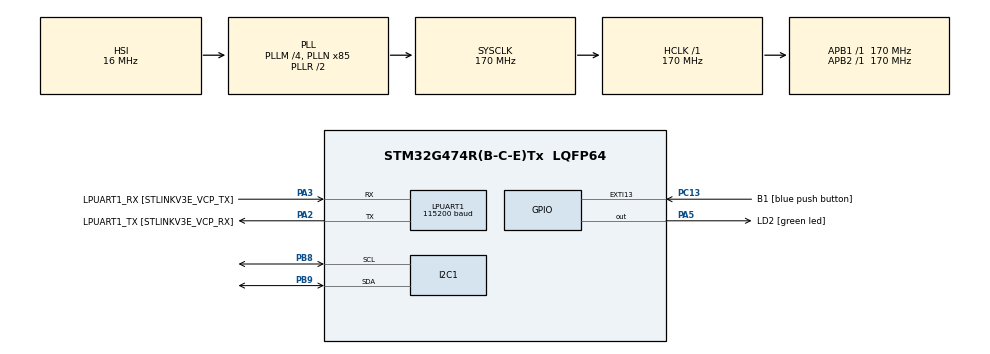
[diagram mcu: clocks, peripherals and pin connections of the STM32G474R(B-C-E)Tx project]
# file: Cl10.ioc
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Dma.I2C1_RX.0.Direction=DMA_PERIPH_TO_MEMORY
Dma.I2C1_RX.0.EventEnable=DISABLE
Dma.I2C1_RX.0.Instance=DMA1_Channel1
Dma.I2C1_RX.0.MemDataAlignment=DMA_MDATAALIGN_BYTE
Dma.I2C1_RX.0.MemInc=DMA_MINC_ENABLE
Dma.I2C1_RX.0.Mode=DMA_NORMAL
Dma.I2C1_RX.0.PeriphDataAlignment=DMA_PDATAALIGN_BYTE
Dma.I2C1_RX.0.PeriphInc=DMA_PINC_DISABLE
Dma.I2C1_RX.0.Polarity=HAL_DMAMUX_REQ_GEN_RISING
Dma.I2C1_RX.0.Priority=DMA_PRIORITY_LOW
Dma.I2C1_RX.0.RequestNumber=1
Dma.I2C1_RX.0.SignalID=NONE
Dma.I2C1_RX.0.SyncEnable=DISABLE
Dma.I2C1_RX.0.SyncPolarity=HAL_DMAMUX_SYNC_NO_EVENT
Dma.I2C1_RX.0.SyncRequestNumber=1
Dma.I2C1_RX.0.SyncSignalID=NONE
Dma.I2C1_TX.1.Direction=DMA_MEMORY_TO_PERIPH
Dma.I2C1_TX.1.EventEnable=DISABLE
Dma.I2C1_TX.1.Instance=DMA1_Channel2
Dma.I2C1_TX.1.MemDataAlignment=DMA_MDATAALIGN_BYTE
Dma.I2C1_TX.1.MemInc=DMA_MINC_ENABLE
Dma.I2C1_TX.1.Mode=DMA_NORMAL
Dma.I2C1_TX.1.PeriphDataAlignment=DMA_PDATAALIGN_BYTE
Dma.I2C1_TX.1.PeriphInc=DMA_PINC_DISABLE
Dma.I2C1_TX.1.Polarity=HAL_DMAMUX_REQ_GEN_RISING
Dma.I2C1_TX.1.Priority=DMA_PRIORITY_LOW
Dma.I2C1_TX.1.RequestNumber=1
Dma.I2C1_TX.1.SignalID=NONE
Dma.I2C1_TX.1.SyncEnable=DISABLE
Dma.I2C1_TX.1.SyncPolarity=HAL_DMAMUX_SYNC_NO_EVENT
Dma.I2C1_TX.1.SyncRequestNumber=1
Dma.I2C1_TX.1.SyncSignalID=NONE
Dma.Request0=I2C1_RX
Dma.Request1=I2C1_TX
I2C1.Timing=0x30A0A7FB
LPUART1.BaudRate=115200
LPUART1.WordLength=UART_WORDLENGTH_8B
Mcu.Family=STM32G4
Mcu.Name=STM32G474R(B-C-E)Tx
Mcu.Package=LQFP64
NVIC.DMA1_Channel1_IRQn=true\:0\:0\:false\:false\:true\:false\:true\:true
NVIC.DMA1_Channel2_IRQn=true\:0\:0\:false\:false\:true\:false\:true\:true
NVIC.EXTI15_10_IRQn=true\:0\:0\:false\:false\:true\:true\:true\:true
NVIC.I2C1_ER_IRQn=true\:0\:0\:false\:false\:true\:true\:true\:true
NVIC.I2C1_EV_IRQn=true\:0\:0\:false\:false\:true\:true\:true\:true
NVIC.PriorityGroup=NVIC_PRIORITYGROUP_4
PA13.GPIO_Label=T_SWDIO
PA13.Mode=Serial_Wire
PA13.Signal=SYS_JTMS-SWDIO
PA14.GPIO_Label=T_SWCLK
PA14.Mode=Serial_Wire
PA14.Signal=SYS_JTCK-SWCLK
PA2.GPIO_Label=LPUART1_TX [STLINKV3E_VCP_RX]
PA2.Mode=Asynchronous
PA2.Signal=LPUART1_TX
PA3.GPIO_Label=LPUART1_RX [STLINKV3E_VCP_TX]
PA3.Mode=Asynchronous
PA3.Signal=LPUART1_RX
PA5.GPIO_Label=LD2 [green led]
PA5.Signal=GPIO_Output
PB3.GPIO_Label=T_SWO
PB3.Signal=SYS_JTDO-SWO
PB8-BOOT0.Mode=I2C
PB8-BOOT0.Signal=I2C1_SCL
PB9.Mode=I2C
PB9.Signal=I2C1_SDA
PC13.GPIO_Label=B1 [blue push button]
PC13.Signal=GPXTI13
PC14-OSC32_IN.Mode=LSE-External-Oscillator
PC14-OSC32_IN.Signal=RCC_OSC32_IN
PC15-OSC32_OUT.Mode=LSE-External-Oscillator
PC15-OSC32_OUT.Signal=RCC_OSC32_OUT
PF0-OSC_IN.Mode=HSE-External-Oscillator
PF0-OSC_IN.Signal=RCC_OSC_IN
PF1-OSC_OUT.Mode=HSE-External-Oscillator
PF1-OSC_OUT.Signal=RCC_OSC_OUT
ProjectManager.HeapSize=0x200
ProjectManager.StackSize=0x400
ProjectManager.TargetToolchain=STM32CubeIDE
RCC.ADC12Freq_Value=170000000
RCC.ADC345Freq_Value=170000000
RCC.AHBFreq_Value=170000000
RCC.APB1Freq_Value=170000000
RCC.APB1TimFreq_Value=170000000
RCC.APB2Freq_Value=170000000
RCC.APB2TimFreq_Value=170000000
RCC.CortexFreq_Value=170000000
RCC.EXTERNAL_CLOCK_VALUE=12288000
RCC.HCLKFreq_Value=170000000
RCC.HSE_VALUE=24000000
RCC.HSI48_VALUE=48000000
RCC.HSI_VALUE=16000000
RCC.PLLM=RCC_PLLM_DIV4
RCC.PLLN=85
RCC.RTCClockSelection=RCC_RTCCLKSOURCE_LSE
RCC.SYSCLKFreq_VALUE=170000000
RCC.SYSCLKSource=RCC_SYSCLKSOURCE_PLLCLK
RCC.USBFreq_Value=170000000
RCC.VCOOutputFreq_Value=340000000
VP_SYS_VS_DBSignals.Mode=DisableDeadBatterySignals
board=NUCLEO-G474RE

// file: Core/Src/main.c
/* USER CODE BEGIN Header */
/**
  ******************************************************************************
  * @file           : main.c
  * @brief          : Main program body
  ******************************************************************************
  * @attention
  *
  * Copyright (c) 2024 STMicroelectronics.
  * All rights reserved.
  *
  * This software is licensed under terms that can be found in the LICENSE file
  * in the root directory of this software component.
  * If no LICENSE file comes with this software, it is provided AS-IS.
  *
  ******************************************************************************
  */
/* USER CODE END Header */
#include "main.h"

/* USER CODE BEGIN PD */
#define EEPROM_ADDR 0b10100000
/* USER CODE END PD */

I2C_HandleTypeDef hi2c1;
DMA_HandleTypeDef hdma_i2c1_rx;
DMA_HandleTypeDef hdma_i2c1_tx;

UART_HandleTypeDef hlpuart1;

/* USER CODE BEGIN PV */
uint8_t eepromExampleWriteFlag = 0;
uint8_t eepromExampleReadFlag = 0;
uint8_t eepromDataReadBack[4];

/* USER CODE END PV */

void SystemClock_Config(void);
static void MX_GPIO_Init(void);
static void MX_DMA_Init(void);
static void MX_LPUART1_UART_Init(void);
static void MX_I2C1_Init(void);

int main(void)
{

  /* MCU Configuration--------------------------------------------------------*/

  /* Reset of all peripherals, Initializes the Flash interface and the Systick. */
  HAL_Init();

  /* Configure the system clock */
  SystemClock_Config();

  /* Initialize all configured peripherals */
  MX_GPIO_Init();
  MX_DMA_Init();
  MX_LPUART1_UART_Init();
  MX_I2C1_Init();
  /* USER CODE BEGIN 2 */
  HAL_Delay(100);
  /* USER CODE END 2 */

  /* Infinite loop */
  while (1)
  {

    /* USER CODE BEGIN 3 */
	  EEPROMWriteExample();
	  EEPROMReadExample(eepromDataReadBack, 3);
  }
  /* USER CODE END 3 */
}

void SystemClock_Config(void)
{
  RCC_OscInitTypeDef RCC_OscInitStruct = {0};
  RCC_ClkInitTypeDef RCC_ClkInitStruct = {0};

  /** Configure the main internal regulator output voltage
  */
  HAL_PWREx_ControlVoltageScaling(PWR_REGULATOR_VOLTAGE_SCALE1_BOOST);

  /** Initializes the RCC Oscillators according to the specified parameters
  * in the RCC_OscInitTypeDef structure.
  */
  RCC_OscInitStruct.OscillatorType = RCC_OSCILLATORTYPE_HSI;
  RCC_OscInitStruct.HSIState = RCC_HSI_ON;
  RCC_OscInitStruct.HSICalibrationValue = RCC_HSICALIBRATION_DEFAULT;
  RCC_OscInitStruct.PLL.PLLState = RCC_PLL_ON;
  RCC_OscInitStruct.PLL.PLLSource = RCC_PLLSOURCE_HSI;
  RCC_OscInitStruct.PLL.PLLM = RCC_PLLM_DIV4;
  RCC_OscInitStruct.PLL.PLLN = 85;
  RCC_OscInitStruct.PLL.PLLP = RCC_PLLP_DIV2;
  RCC_OscInitStruct.PLL.PLLQ = RCC_PLLQ_DIV2;
  RCC_OscInitStruct.PLL.PLLR = RCC_PLLR_DIV2;
  if (HAL_RCC_OscConfig(&RCC_OscInitStruct) != HAL_OK)
  {
    Error_Handler();
  }

  /** Initializes the CPU, AHB and APB buses clocks
  */
  RCC_ClkInitStruct.ClockType = RCC_CLOCKTYPE_HCLK|RCC_CLOCKTYPE_SYSCLK
                              |RCC_CLOCKTYPE_PCLK1|RCC_CLOCKTYPE_PCLK2;
  RCC_ClkInitStruct.SYSCLKSource = RCC_SYSCLKSOURCE_PLLCLK;
  RCC_ClkInitStruct.AHBCLKDivider = RCC_SYSCLK_DIV1;
  RCC_ClkInitStruct.APB1CLKDivider = RCC_HCLK_DIV1;
  RCC_ClkInitStruct.APB2CLKDivider = RCC_HCLK_DIV1;

  if (HAL_RCC_ClockConfig(&RCC_ClkInitStruct, FLASH_LATENCY_4) != HAL_OK)
  {
    Error_Handler();
  }
}

static void MX_I2C1_Init(void)
{

  hi2c1.Instance = I2C1;
  hi2c1.Init.Timing = 0x30A0A7FB;
  hi2c1.Init.OwnAddress1 = 0;
  hi2c1.Init.AddressingMode = I2C_ADDRESSINGMODE_7BIT;
  hi2c1.Init.DualAddressMode = I2C_DUALADDRESS_DISABLE;
  hi2c1.Init.OwnAddress2 = 0;
  hi2c1.Init.OwnAddress2Masks = I2C_OA2_NOMASK;
  hi2c1.Init.GeneralCallMode = I2C_GENERALCALL_DISABLE;
  hi2c1.Init.NoStretchMode = I2C_NOSTRETCH_DISABLE;
  if (HAL_I2C_Init(&hi2c1) != HAL_OK)
  {
    Error_Handler();
  }

  /** Configure Analogue filter
  */
  if (HAL_I2CEx_ConfigAnalogFilter(&hi2c1, I2C_ANALOGFILTER_ENABLE) != HAL_OK)
  {
    Error_Handler();
  }

  /** Configure Digital filter
  */
  if (HAL_I2CEx_ConfigDigitalFilter(&hi2c1, 0) != HAL_OK)
  {
    Error_Handler();
  }

}

static void MX_LPUART1_UART_Init(void)
{

  hlpuart1.Instance = LPUART1;
  hlpuart1.Init.BaudRate = 115200;
  hlpuart1.Init.WordLength = UART_WORDLENGTH_8B;
  hlpuart1.Init.StopBits = UART_STOPBITS_1;
  hlpuart1.Init.Parity = UART_PARITY_NONE;
  hlpuart1.Init.Mode = UART_MODE_TX_RX;
  hlpuart1.Init.HwFlowCtl = UART_HWCONTROL_NONE;
  hlpuart1.Init.OneBitSampling = UART_ONE_BIT_SAMPLE_DISABLE;
  hlpuart1.Init.ClockPrescaler = UART_PRESCALER_DIV1;
  hlpuart1.AdvancedInit.AdvFeatureInit = UART_ADVFEATURE_NO_INIT;
  if (HAL_UART_Init(&hlpuart1) != HAL_OK)
  {
    Error_Handler();
  }
  if (HAL_UARTEx_SetTxFifoThreshold(&hlpuart1, UART_TXFIFO_THRESHOLD_1_8) != HAL_OK)
  {
    Error_Handler();
  }
  if (HAL_UARTEx_SetRxFifoThreshold(&hlpuart1, UART_RXFIFO_THRESHOLD_1_8) != HAL_OK)
  {
    Error_Handler();
  }
  if (HAL_UARTEx_DisableFifoMode(&hlpuart1) != HAL_OK)
  {
    Error_Handler();
  }

}

static void MX_DMA_Init(void)
{

  /* DMA controller clock enable */
  __HAL_RCC_DMAMUX1_CLK_ENABLE();
  __HAL_RCC_DMA1_CLK_ENABLE();

  /* DMA interrupt init */
  /* DMA1_Channel1_IRQn interrupt configuration */
  HAL_NVIC_SetPriority(DMA1_Channel1_IRQn, 0, 0);
  HAL_NVIC_EnableIRQ(DMA1_Channel1_IRQn);
  /* DMA1_Channel2_IRQn interrupt configuration */
  HAL_NVIC_SetPriority(DMA1_Channel2_IRQn, 0, 0);
  HAL_NVIC_EnableIRQ(DMA1_Channel2_IRQn);

}

static void MX_GPIO_Init(void)
{
  GPIO_InitTypeDef GPIO_InitStruct = {0};

  /* GPIO Ports Clock Enable */
  __HAL_RCC_GPIOC_CLK_ENABLE();
  __HAL_RCC_GPIOF_CLK_ENABLE();
  __HAL_RCC_GPIOA_CLK_ENABLE();
  __HAL_RCC_GPIOB_CLK_ENABLE();

  /*Configure GPIO pin Output Level */
  HAL_GPIO_WritePin(LD2_GPIO_Port, LD2_Pin, GPIO_PIN_RESET);

  /*Configure GPIO pin : B1_Pin */
  GPIO_InitStruct.Pin = B1_Pin;
  GPIO_InitStruct.Mode = GPIO_MODE_IT_RISING;
  GPIO_InitStruct.Pull = GPIO_NOPULL;
  HAL_GPIO_Init(B1_GPIO_Port, &GPIO_InitStruct);

  /*Configure GPIO pin : LD2_Pin */
  GPIO_InitStruct.Pin = LD2_Pin;
  GPIO_InitStruct.Mode = GPIO_MODE_OUTPUT_PP;
  GPIO_InitStruct.Pull = GPIO_NOPULL;
  GPIO_InitStruct.Speed = GPIO_SPEED_FREQ_LOW;
  HAL_GPIO_Init(LD2_GPIO_Port, &GPIO_InitStruct);

  /* EXTI interrupt init*/
  HAL_NVIC_SetPriority(EXTI15_10_IRQn, 0, 0);
  HAL_NVIC_EnableIRQ(EXTI15_10_IRQn);

}

/* USER CODE BEGIN 4 */
void EEPROMWriteExample() {
if (eepromExampleWriteFlag && hi2c1.State == HAL_I2C_STATE_READY) {
static uint8_t data[4] = { 0xff, 0x00, 0x55, 0xaa };
HAL_I2C_Mem_Write_IT(&hi2c1, EEPROM_ADDR, 0x2C, I2C_MEMADD_SIZE_16BIT, data, 4);
eepromExampleWriteFlag = 0;
}
}
void EEPROMReadExample(uint8_t *Rdata, uint16_t len) {
if (eepromExampleReadFlag && hi2c1.State == HAL_I2C_STATE_READY) {
HAL_I2C_Mem_Read_IT(&hi2c1, EEPROM_ADDR, 0x2c, I2C_MEMADD_SIZE_16BIT, Rdata, len);
eepromExampleReadFlag = 0;
}
}
/* USER CODE END 4 */

void Error_Handler(void)
{
  __disable_irq();
  while (1)
  {
  }
}
